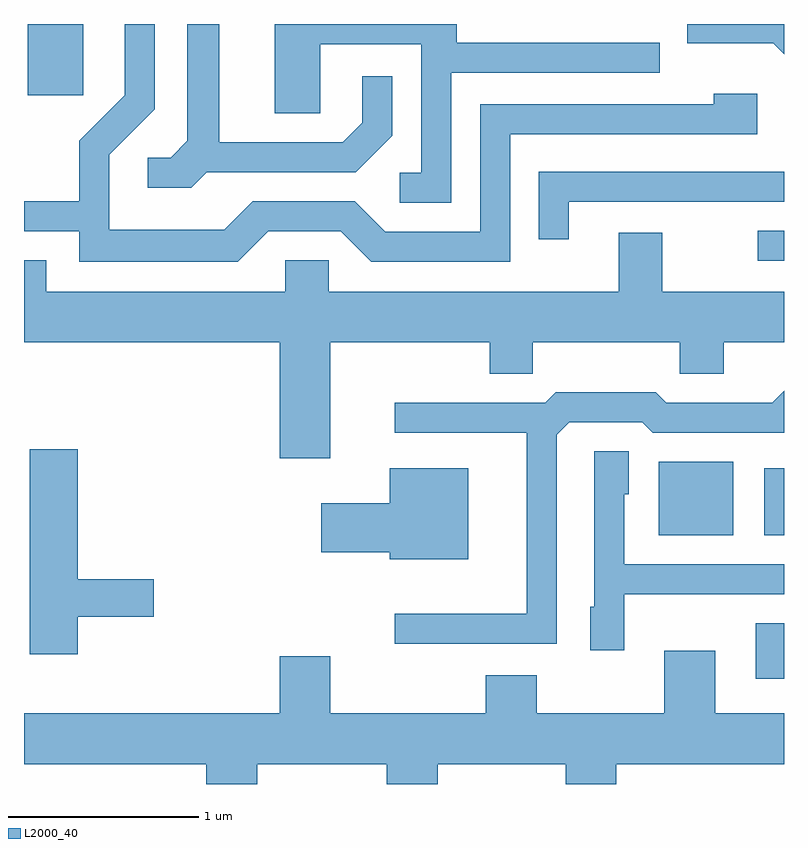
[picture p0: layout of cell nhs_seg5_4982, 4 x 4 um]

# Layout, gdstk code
import gdstk
lib = gdstk.Library(unit=1e-6, precision=1e-09)
def R(c, l, rs):  # rectangles x0, y0, x1, y1
    for r in rs: c.add(gdstk.rectangle(r[:2], r[2:], *l))
def P(c, l, *ps):  # polygons
    for p in ps: c.add(gdstk.Polygon(p, *l))
L2000_40 = (2000, 40)

nhs_seg5_4982 = lib.new_cell('nhs_seg5_4982')
R(nhs_seg5_4982, L2000_40, [(337.461,1410.626,337.611,1410.919), (336.951,1411.381,337.344,1411.769), (337.506,1411.381,337.611,1411.734), (337.473,1412.826,337.611,1412.984), (333.631,1413.696,333.924,1414.072)])
P(nhs_seg5_4982, L2000_40, [(334.572,1413.291),(335.357,1413.291),(335.549,1413.484),(335.549,1413.798),(335.391,1413.798),(335.391,1413.552),(335.289,1413.449),(334.639,1413.449),(334.639,1414.072),(334.471,1414.072),(334.471,1413.457),(334.384,1413.369),(334.263,1413.369),(334.263,1413.211),(334.492,1413.211)],
  [(334.897,1412.981),(335.279,1412.981),(335.439,1412.821),(336.169,1412.821),(336.169,1413.491),(337.469,1413.491),(337.469,1413.704),(337.241,1413.704),(337.241,1413.649),(336.011,1413.649),(336.011,1412.979),(335.512,1412.979),(335.352,1413.139),(334.814,1413.139),(334.664,1412.989),(334.059,1412.989),(334.059,1413.384),(334.299,1413.624),(334.299,1414.072),(334.141,1414.072),(334.141,1413.697),(333.901,1413.457),(333.901,1413.139),(333.611,1413.139),(333.611,1412.981),(333.901,1412.981),(333.901,1412.821),(334.737,1412.821)],
  [(337.611,1414.072),(337.101,1414.072),(337.101,1413.971),(337.554,1413.971),(337.611,1413.914)],
  [(335.859,1413.816),(336.958,1413.816),(336.958,1413.974),(335.889,1413.974),(335.889,1414.072),(334.931,1414.072),(334.931,1413.601),(335.169,1413.601),(335.169,1413.966),(335.701,1413.966),(335.701,1413.289),(335.588,1413.289),(335.588,1413.131),(335.859,1413.131)],
  [(336.479,1413.136),(337.611,1413.136),(337.611,1413.294),(336.321,1413.294),(336.321,1412.938),(336.479,1412.938)],
  [(335.224,1412.396),(336.061,1412.396),(336.061,1412.231),(336.289,1412.231),(336.289,1412.396),(337.061,1412.396),(337.061,1412.231),(337.294,1412.231),(337.294,1412.396),(337.611,1412.396),(337.611,1412.664),(336.969,1412.664),(336.969,1412.974),(336.741,1412.974),(336.741,1412.664),(335.214,1412.664),(335.214,1412.829),(334.986,1412.829),(334.986,1412.664),(333.729,1412.664),(333.729,1412.829),(333.611,1412.829),(333.611,1412.396),(334.956,1412.396),(334.956,1411.786),(335.224,1411.786)],
  [(336.414,1411.909),(336.482,1411.976),(336.864,1411.976),(336.919,1411.921),(337.611,1411.921),(337.611,1412.141),(337.549,1412.079),(336.992,1412.079),(336.937,1412.134),(336.409,1412.134),(336.354,1412.079),(335.563,1412.079),(335.563,1411.921),(336.256,1411.921),(336.256,1410.969),(335.563,1410.969),(335.563,1410.811),(336.414,1410.811)],
  [(333.894,1410.951),(334.294,1410.951),(334.294,1411.149),(333.894,1411.149),(333.894,1411.834),(333.641,1411.834),(333.641,1410.756),(333.894,1410.756)],
  [(336.769,1411.071),(337.611,1411.071),(337.611,1411.229),(336.769,1411.229),(336.769,1411.596),(336.794,1411.596),(336.794,1411.824),(336.611,1411.824),(336.611,1411.004),(336.591,1411.004),(336.591,1410.776),(336.769,1410.776)],
  [(335.949,1411.734),(335.536,1411.734),(335.536,1411.549),(335.176,1411.549),(335.176,1411.291),(335.536,1411.291),(335.536,1411.256),(335.949,1411.256)],
  [(334.839,1410.176),(335.521,1410.176),(335.521,1410.072),(335.789,1410.072),(335.789,1410.176),(336.461,1410.176),(336.461,1410.072),(336.729,1410.072),(336.729,1410.176),(337.611,1410.176),(337.611,1410.444),(337.249,1410.444),(337.249,1410.774),(336.981,1410.774),(336.981,1410.444),(336.309,1410.444),(336.309,1410.644),(336.041,1410.644),(336.041,1410.444),(335.224,1410.444),(335.224,1410.744),(334.956,1410.744),(334.956,1410.444),(333.611,1410.444),(333.611,1410.176),(334.571,1410.176),(334.571,1410.072),(334.839,1410.072)])

lib.write_gds('nhs_seg5_4982.gds')
